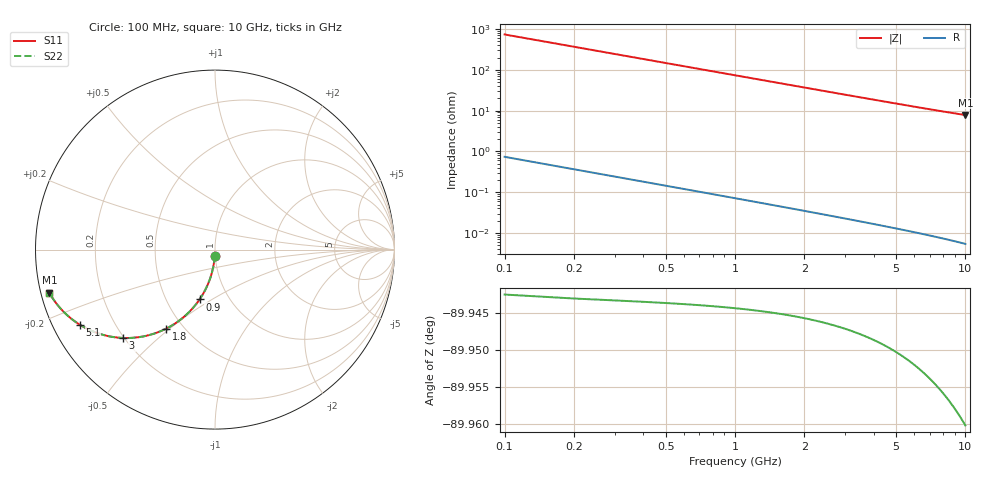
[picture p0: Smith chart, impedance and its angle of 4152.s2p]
# Hz S RI R 50.00
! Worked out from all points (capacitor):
!   100 points, 100 MHz to 10 GHz, reference 50 ohm
!   read as one part in shunt: C = 2.17 pF near 100 MHz
!   lowest |Z| = 7.79 ohm at 10 GHz (marker M1)
!   S11 on the Smith chart (normalised r, x): 100 MHz: 1.00, -0.07; 900 MHz: 0.73, -0.44; 1.8 GHz: 0.40, -0.49; 3 GHz: 0.20, -0.39; 5.1 GHz: 0.08, -0.26; 10 GHz: 0.02, -0.13
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1e8  -0.0011 -0.0338  0.9987 -0.0342  0.9987 -0.0342  -0.0011 -0.0338
2e8  -0.00459 -0.0673  0.9952 -0.0682  0.9952 -0.0682  -0.00459 -0.0673
3e8  -0.0103 -0.1004  0.9895 -0.1018  0.9895 -0.1018  -0.0103 -0.1004
4e8  -0.0182 -0.1327  0.9816 -0.1346  0.9816 -0.1346  -0.0182 -0.1327
5e8  -0.0282 -0.1642  0.9716 -0.1666  0.9716 -0.1666  -0.0282 -0.1642
6e8  -0.0402 -0.1946  0.9597 -0.1974  0.9597 -0.1974  -0.0402 -0.1946
7e8  -0.0539 -0.2238  0.9459 -0.2271  0.9459 -0.2271  -0.0539 -0.2238
9e8  -0.086 -0.2779  0.9138 -0.2821  0.9138 -0.2821  -0.086 -0.2779
1.1e9  -0.1232 -0.3257  0.8766 -0.3308  0.8766 -0.3308  -0.1232 -0.3257
1.3e9  -0.164 -0.3669  0.8358 -0.3729  0.8358 -0.3729  -0.164 -0.3669
1.5e9  -0.2071 -0.4013  0.7927 -0.4083  0.7927 -0.4083  -0.2071 -0.4013
1.8e9  -0.2733 -0.441  0.7264 -0.4494  0.7264 -0.4494  -0.2733 -0.441
2.1e9  -0.3387 -0.4679  0.6611 -0.4777  0.6611 -0.4777  -0.3387 -0.4679
2.4e9  -0.4008 -0.484  0.5989 -0.4952  0.5989 -0.4952  -0.4008 -0.484
3e9  -0.5113 -0.4923  0.4884 -0.5064  0.4884 -0.5064  -0.5113 -0.4923
3.4e9  -0.5735 -0.486  0.4262 -0.502  0.4262 -0.502  -0.5735 -0.486
4.2e9  -0.6728 -0.4587  0.3269 -0.4785  0.3269 -0.4785  -0.6728 -0.4587
5.1e9  -0.7525 -0.4188  0.247 -0.443  0.247 -0.443  -0.7525 -0.4188
5.9e9  -0.8032 -0.3828  0.1962 -0.4109  0.1962 -0.4109  -0.8032 -0.3828
6.7e9  -0.8408 -0.349  0.1585 -0.381  0.1585 -0.381  -0.8408 -0.349
8.4e9  -0.8933 -0.2871  0.1056 -0.3278  0.1056 -0.3278  -0.8933 -0.2871
1e10  -0.923 -0.2404  0.0756 -0.2894  0.0756 -0.2894  -0.923 -0.2404
